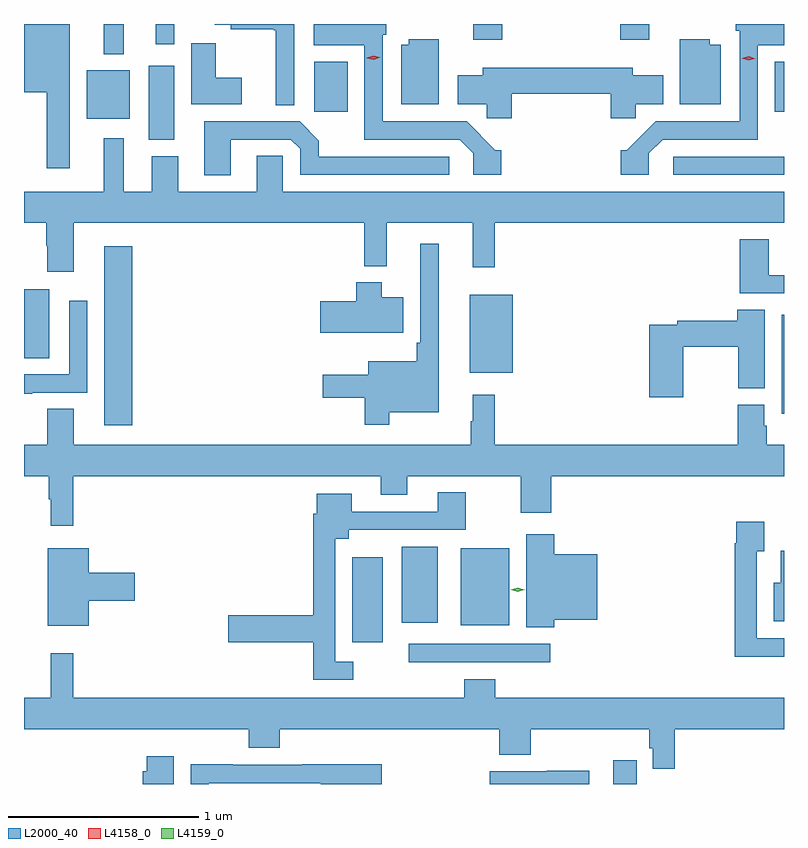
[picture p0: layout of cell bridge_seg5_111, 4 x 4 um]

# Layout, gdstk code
import gdstk
lib = gdstk.Library(unit=1e-6, precision=1e-09)
def R(c, l, rs):  # rectangles x0, y0, x1, y1
    for r in rs: c.add(gdstk.rectangle(r[:2], r[2:], *l))
def P(c, l, *ps):  # polygons
    for p in ps: c.add(gdstk.Polygon(p, *l))
L2000_40 = (2000, 40)
L4158_0 = (4158, 0)
L4159_0 = (4159, 0)

bridge_seg5_111 = lib.new_cell('bridge_seg5_111')
R(bridge_seg5_111, L2000_40, [(398.685,843.151,398.81,843.277), (397.611,843.792,398.356,843.888), (397.313,843.897,397.474,844.345), (397.883,843.986,398.14,844.393), (397.574,844.001,397.762,844.399), (396.008,845.04,396.155,845.98), (399.572,845.1,399.585,845.62), (397.931,845.315,398.158,845.725), (395.585,845.392,395.719,845.755), (399.003,846.357,399.585,846.453), (396.242,846.541,396.376,846.931), (395.915,846.653,396.142,846.907), (397.112,846.689,397.288,846.952), (399.536,846.689,399.585,846.952), (396.005,846.992,396.109,847.151), (396.278,847.044,396.377,847.151), (397.949,847.068,398.102,847.151), (398.723,847.068,398.875,847.151)])
P(bridge_seg5_111, L2000_40, [(398.098,846.487),(398.066,846.487),(397.914,846.639),(397.473,846.639),(397.473,847.095),(397.492,847.095),(397.492,847.151),(397.109,847.151),(397.109,847.04),(397.377,847.04),(397.377,846.543),(397.878,846.543),(397.95,846.471),(397.95,846.357),(398.098,846.357)],
  [(395.827,847.151),(395.585,847.151),(395.585,846.791),(395.706,846.791),(395.706,846.393),(395.827,846.393)],
  [(398.874,846.471),(398.946,846.543),(399.447,846.543),(399.447,847.04),(399.585,847.04),(399.585,847.151),(399.332,847.151),(399.332,847.116),(399.351,847.116),(399.351,846.639),(398.91,846.639),(398.758,846.487),(398.727,846.487),(398.727,846.357),(398.874,846.357)],
  [(397.008,847.151),(396.588,847.151),(396.588,847.148),(396.672,847.148),(396.672,847.124),(396.9,847.124),(396.9,847.117),(396.911,847.117),(396.911,846.724),(397.008,846.724)],
  [(397.768,847.072),(397.61,847.072),(397.61,847.042),(397.571,847.042),(397.571,846.728),(397.768,846.728)],
  [(399.253,847.042),(399.193,847.042),(399.193,847.072),(399.035,847.072),(399.035,846.728),(399.253,846.728)],
  [(396.73,846.868),(396.594,846.868),(396.594,847.051),(396.464,847.051),(396.464,846.728),(396.73,846.728)],
  [(398.153,846.784),(398.672,846.784),(398.672,846.656),(398.804,846.656),(398.804,846.728),(398.95,846.728),(398.95,846.88),(398.79,846.88),(398.79,846.92),(398,846.92),(398,846.88),(397.869,846.88),(397.869,846.728),(398.02,846.728),(398.02,846.656),(398.153,846.656)],
  [(396.673,846.543),(396.99,846.543),(397.038,846.495),(397.038,846.357),(397.822,846.357),(397.822,846.453),(397.137,846.453),(397.137,846.537),(397.035,846.639),(396.533,846.639),(396.533,846.354),(396.673,846.354)],
  [(395.848,846.104),(397.375,846.104),(397.375,845.876),(397.493,845.876),(397.493,846.104),(397.946,846.104),(397.946,845.871),(398.063,845.871),(398.063,846.104),(399.585,846.104),(399.585,846.268),(396.948,846.268),(396.948,846.458),(396.809,846.458),(396.809,846.268),(396.397,846.268),(396.397,846.456),(396.257,846.456),(396.257,846.268),(396.109,846.268),(396.109,846.55),(396.005,846.55),(396.005,846.268),(395.585,846.268),(395.585,846.104),(395.701,846.104),(395.701,845.984),(395.708,845.984),(395.708,845.847),(395.848,845.847)],
  [(399.585,845.829),(399.505,845.829),(399.505,846.019),(399.353,846.019),(399.353,845.733),(399.585,845.733)],
  [(397.507,845.108),(397.768,845.108),(397.768,845.995),(397.671,845.995),(397.671,845.473),(397.651,845.473),(397.651,845.377),(397.397,845.377),(397.397,845.305),(397.158,845.305),(397.158,845.183),(397.378,845.183),(397.378,845.043),(397.507,845.043)],
  [(397.582,845.713),(397.468,845.713),(397.468,845.791),(397.334,845.791),(397.334,845.691),(397.143,845.691),(397.143,845.525),(397.582,845.525)],
  [(395.629,845.211),(395.919,845.211),(395.919,845.695),(395.823,845.695),(395.823,845.307),(395.585,845.307),(395.585,845.206),(395.629,845.206)],
  [(399.054,845.452),(399.343,845.452),(399.343,845.233),(399.484,845.233),(399.484,845.648),(399.338,845.648),(399.338,845.588),(399.022,845.588),(399.022,845.568),(398.876,845.568),(398.876,845.187),(399.054,845.187)],
  [(395.843,844.772),(397.463,844.772),(397.463,844.673),(397.603,844.673),(397.603,844.772),(398.2,844.772),(398.2,844.578),(398.36,844.578),(398.36,844.772),(399.585,844.772),(399.585,844.936),(399.494,844.936),(399.494,845.037),(399.481,845.037),(399.481,845.148),(399.341,845.148),(399.341,844.936),(398.063,844.936),(398.063,845.2),(397.946,845.2),(397.946,845.06),(397.935,845.06),(397.935,844.936),(395.848,844.936),(395.848,845.126),(395.708,845.126),(395.708,844.936),(395.585,844.936),(395.585,844.772),(395.715,844.772),(395.715,844.649),(395.726,844.649),(395.726,844.509),(395.843,844.509)],
  [(397.318,843.795),(397.224,843.795),(397.224,844.442),(397.294,844.442),(397.294,844.488),(397.911,844.488),(397.911,844.687),(397.763,844.687),(397.763,844.584),(397.309,844.584),(397.309,844.678),(397.127,844.678),(397.127,844.574),(397.108,844.574),(397.108,844.04),(396.66,844.04),(396.66,843.898),(397.108,843.898),(397.108,843.699),(397.318,843.699)],
  [(399.585,843.918),(399.441,843.918),(399.441,844.375),(399.481,844.375),(399.481,844.531),(399.333,844.531),(399.333,844.418),(399.325,844.418),(399.325,843.821),(399.585,843.821)],
  [(398.375,844.016),(398.602,844.016),(398.602,844.36),(398.375,844.36),(398.375,844.465),(398.228,844.465),(398.228,843.977),(398.375,843.977)],
  [(395.926,844.115),(396.169,844.115),(396.169,844.262),(395.926,844.262),(395.926,844.393),(395.711,844.393),(395.711,843.983),(395.926,843.983)],
  [(399.585,844.378),(399.569,844.378),(399.569,844.21),(399.53,844.21),(399.53,844.007),(399.585,844.007)],
  [(399.011,843.44),(399.585,843.44),(399.585,843.604),(398.066,843.604),(398.066,843.703),(397.901,843.703),(397.901,843.604),(395.843,843.604),(395.843,843.838),(395.726,843.838),(395.726,843.604),(395.585,843.604),(395.585,843.44),(396.767,843.44),(396.767,843.341),(396.932,843.341),(396.932,843.44),(398.087,843.44),(398.087,843.304),(398.252,843.304),(398.252,843.44),(398.875,843.44),(398.875,843.339),(398.895,843.339),(398.895,843.23),(399.011,843.23)],
  [(396.373,843.298),(396.23,843.298),(396.23,843.219),(396.209,843.219),(396.209,843.151),(396.373,843.151)],
  [(396.558,843.156),(397.146,843.156),(397.146,843.151),(397.468,843.151),(397.468,843.254),(397.049,843.254),(397.049,843.252),(396.683,843.252),(396.683,843.254),(396.462,843.254),(396.462,843.151),(396.558,843.151)],
  [(398.56,843.222),(398.335,843.222),(398.335,843.219),(398.035,843.219),(398.035,843.151),(398.56,843.151)])
P(bridge_seg5_111, L4158_0, [(399.398,846.96),(399.363,846.972),(399.363,846.972),(399.363,846.972),(399.399,846.98),(399.434,846.968),(399.434,846.968),(399.434,846.967)],
  [(397.425,846.964),(397.389,846.972),(397.389,846.973),(397.389,846.973),(397.424,846.984),(397.461,846.976),(397.461,846.975),(397.461,846.975)])
P(bridge_seg5_111, L4159_0, [(398.184,844.164),(398.148,844.174),(398.148,844.174),(398.148,844.174),(398.184,844.184),(398.219,844.174),(398.22,844.174),(398.219,844.174)])

lib.write_gds('bridge_seg5_111.gds')
